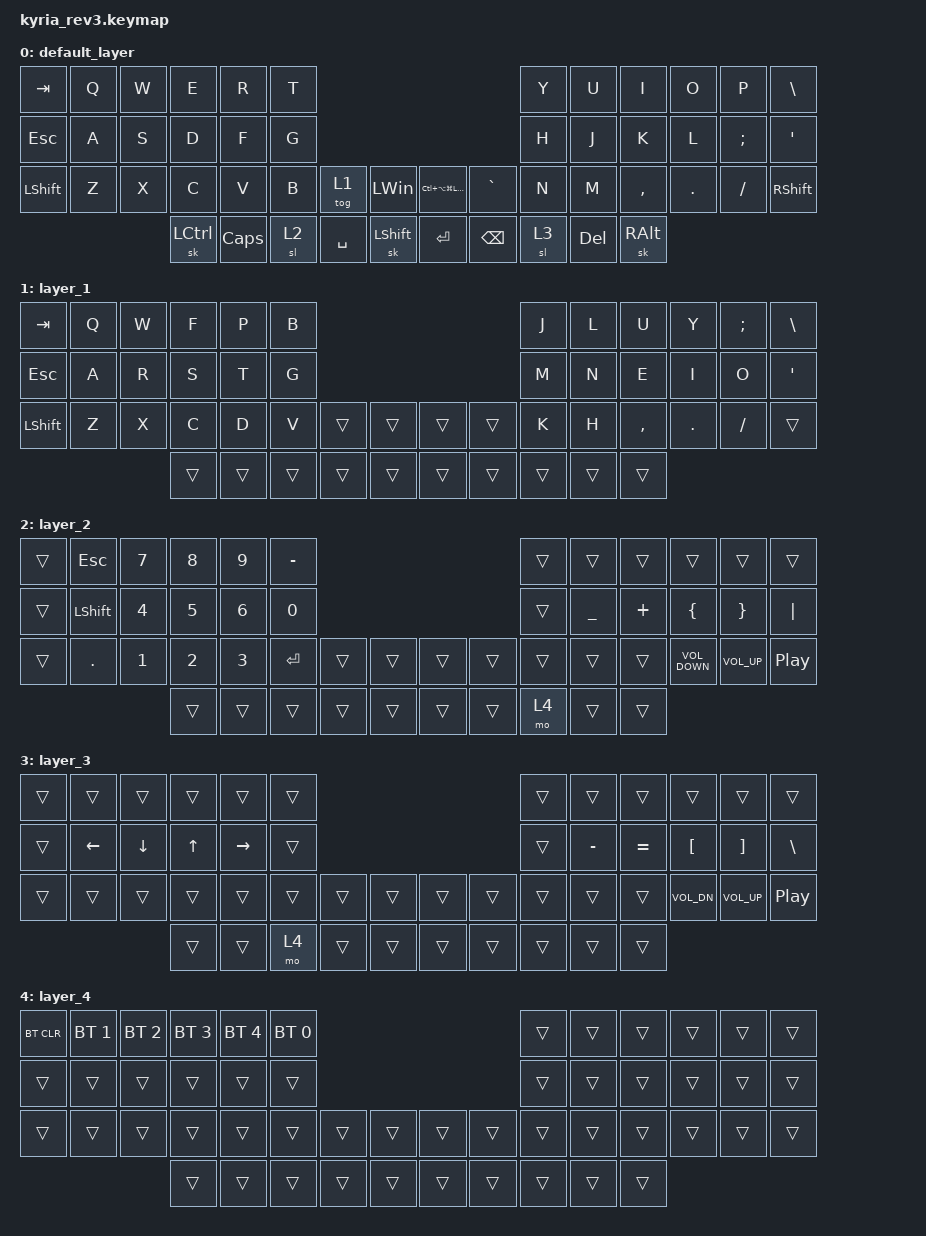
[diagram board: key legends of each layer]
/*
 * Copyright (c) 2023 The ZMK Contributors
 *
 * SPDX-License-Identifier: MIT
 */

#include <behaviors.dtsi>
#include <dt-bindings/zmk/bt.h>
#include <dt-bindings/zmk/keys.h>

/* Uncomment this block if using RGB
&led_strip {
    chain-length = <6>;
    // chain-length = <31>; // Uncomment if using both per-key and underglow LEDs
    // chain-length = <25>; // Uncomment if using only per-key LEDs.
};
 */

/ {
    combos {
        compatible = "zmk,combos";

        TabCombo {
            bindings = <&kp TAB>;
            key-positions = <5 4>;
        };

        EscCombo {
            bindings = <&kp ESCAPE>;
            key-positions = <17 16>;
        };
    };

    keymap {
        compatible = "zmk,keymap";

        default_layer {
            // ---------------------------------------------------------------------------------------------------------------------------------
            // |  ESC  |  Q  |  W  |  E   |  R   |  T   |                                          |  Y   |  U    |  I    |  O   |   P   |   \  |
            // |  TAB  |  A  |  S  |  D   |  F   |  G   |                                          |  H   |  J    |  K    |  L   |   ;   |   '  |
            // | SHIFT |  Z  |  X  |  C   |  V   |  B   | L SHIFT | L SHIFT |  | L SHIFT | L SHIFT |  N   |  M    |  ,    |  .   |   /   | CTRL |
            //                     | GUI  | DEL  | RET  |  SPACE  |   ESC   |  |   RET   |  SPACE  | TAB  | BSPC  | R-ALT |

            bindings = <
&kp TAB    &kp Q  &kp W  &kp E      &kp R         &kp T                                                                   &kp Y  &kp U       &kp I          &kp O    &kp P     &kp BSLH
&kp ESC    &kp A  &kp S  &kp D      &kp F         &kp G                                                                   &kp H  &kp J       &kp K          &kp L    &kp SEMI  &kp SQT
&kp LSHFT  &kp Z  &kp X  &kp C      &kp V         &kp B  &tog 1     &kp LEFT_WIN    &kp LC(LA(LG(LSHFT)))  &kp GRAVE      &kp N  &kp M       &kp COMMA      &kp DOT  &kp FSLH  &kp RIGHT_SHIFT
                         &sk LCTRL  &kp CAPSLOCK  &sl 2  &kp SPACE  &sk LEFT_SHIFT  &kp ENTER              &kp BACKSPACE  &sl 3  &kp DELETE  &sk RIGHT_ALT
            >;
        };

        layer_1 {
            bindings = <
&kp TAB         &kp Q  &kp W  &kp F   &kp P   &kp B                                   &kp J   &kp L   &kp U      &kp Y       &kp SEMICOLON  &kp BACKSLASH
&kp ESCAPE      &kp A  &kp R  &kp S   &kp T   &kp G                                   &kp M   &kp N   &kp E      &kp I       &kp O          &kp SQT
&kp LEFT_SHIFT  &kp Z  &kp X  &kp C   &kp D   &kp V   &trans  &trans  &trans  &trans  &kp K   &kp H   &kp COMMA  &kp PERIOD  &kp SLASH      &trans
                              &trans  &trans  &trans  &trans  &trans  &trans  &trans  &trans  &trans  &trans
            >;
        };

        layer_2 {
            bindings = <
&trans  &kp ESCAPE      &kp NUMBER_7  &kp NUMBER_8  &kp NUMBER_9  &kp MINUS                                     &trans  &trans          &trans    &trans             &trans           &trans
&trans  &kp LEFT_SHIFT  &kp NUMBER_4  &kp NUMBER_5  &kp NUMBER_6  &kp NUMBER_0                                  &trans  &kp UNDERSCORE  &kp PLUS  &kp LEFT_BRACE     &kp RIGHT_BRACE  &kp PIPE
&trans  &kp PERIOD      &kp NUMBER_1  &kp NUMBER_2  &kp NUMBER_3  &kp ENTER     &trans  &trans  &trans  &trans  &trans  &trans          &trans    &kp C_VOLUME_DOWN  &kp C_VOLUME_UP  &kp C_PLAY_PAUSE
                                      &trans        &trans        &trans        &trans  &trans  &trans  &trans  &mo 4   &trans          &trans
            >;
        };

        layer_3 {
            bindings = <
&trans  &trans    &trans    &trans        &trans     &trans                                  &trans  &trans     &trans     &trans            &trans             &trans
&trans  &kp LEFT  &kp DOWN  &kp UP_ARROW  &kp RIGHT  &trans                                  &trans  &kp MINUS  &kp EQUAL  &kp LEFT_BRACKET  &kp RIGHT_BRACKET  &kp BACKSLASH
&trans  &trans    &trans    &trans        &trans     &trans  &trans  &trans  &trans  &trans  &trans  &trans     &trans     &kp C_VOL_DN      &kp C_VOLUME_UP    &kp C_PLAY_PAUSE
                            &trans        &trans     &mo 4   &trans  &trans  &trans  &trans  &trans  &trans     &trans
            >;
        };

        layer_4 {
            bindings = <
&bt BT_CLR  &bt BT_SEL 1  &bt BT_SEL 2  &bt BT_SEL 3  &bt BT_SEL 4  &bt BT_SEL 0                                  &trans  &trans  &trans  &trans  &trans  &trans
&trans      &trans        &trans        &trans        &trans        &trans                                        &trans  &trans  &trans  &trans  &trans  &trans
&trans      &trans        &trans        &trans        &trans        &trans        &trans  &trans  &trans  &trans  &trans  &trans  &trans  &trans  &trans  &trans
                                        &trans        &trans        &trans        &trans  &trans  &trans  &trans  &trans  &trans  &trans
            >;
        };
    };
};
